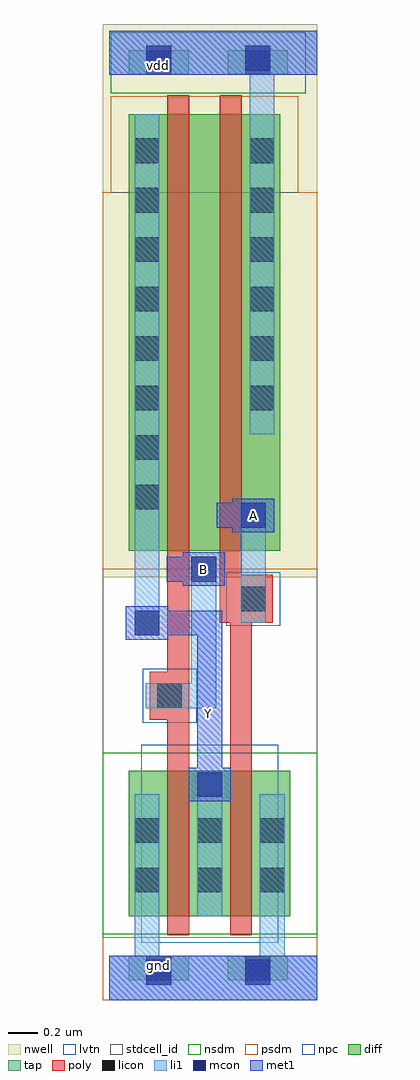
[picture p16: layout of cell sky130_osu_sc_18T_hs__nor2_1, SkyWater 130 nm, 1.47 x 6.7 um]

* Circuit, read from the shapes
.subckt sky130_osu_sc_18T_hs__nor2_1 A B Y gnd vdd
XM1 Y B gnd gnd sky130_fd_pr__nfet_01v8_lvt w=1 l=0.15
XM2 gnd A Y gnd sky130_fd_pr__nfet_01v8_lvt w=1 l=0.15
XM3 n1 B Y vdd sky130_fd_pr__pfet_01v8 w=3 l=0.15
XM4 vdd A n1 vdd sky130_fd_pr__pfet_01v8 w=3 l=0.15
.ends

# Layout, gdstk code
import gdstk
lib = gdstk.Library(unit=1e-6, precision=1e-09)
def R(c, l, rs):  # rectangles x0, y0, x1, y1
    for r in rs: c.add(gdstk.rectangle(r[:2], r[2:], *l))
nwell = (64, 20)
diff = (65, 20)
tap = (65, 44)
poly = (66, 20)
licon = (66, 44)
li1 = (67, 20)
mcon = (67, 44)
met1 = (68, 20)
stdcell_id = (81, 4)
nsdm = (93, 44)
psdm = (94, 20)
npc = (95, 20)
lvtn = (125, 44)

sky130_osu_sc_18t_hs__no = lib.new_cell('sky130_osu_sc_18T_hs__nor2_1')
R(sky130_osu_sc_18t_hs__no, nwell, [(-0.045,2.905,1.43,6.705), (-0.045,2.905,1.43,6.705)])
R(sky130_osu_sc_18t_hs__no, diff, [(0.135,0.575,1.245,1.575), (0.135,0.575,1.245,1.575), (0.135,3.085,1.175,6.085), (0.135,3.085,1.175,6.085)])
R(sky130_osu_sc_18t_hs__no, tap, [(0.135,0.135,0.545,0.305), (0.135,0.135,0.545,0.305), (0.815,0.135,1.225,0.305), (0.815,0.135,1.225,0.305), (0.135,6.355,0.545,6.525), (0.135,6.355,0.545,6.525), (0.815,6.355,1.225,6.525), (0.815,6.355,1.225,6.525)])
R(sky130_osu_sc_18t_hs__no, poly, [(0.4,0.445,0.55,1.925), (0.4,0.445,0.55,1.925), (0.83,0.445,0.98,2.59), (0.83,0.445,0.98,2.59), (0.28,1.925,0.55,2.255), (0.28,1.925,0.55,2.255), (0.4,2.255,0.55,6.215), (0.4,2.255,0.55,6.215), (0.76,2.59,1.125,2.92), (0.76,2.59,1.125,2.92), (0.76,2.92,0.91,6.215), (0.76,2.92,0.91,6.215)])
R(sky130_osu_sc_18t_hs__no, licon, [(0.255,0.135,0.425,0.305), (0.255,0.135,0.425,0.305), (0.935,0.135,1.105,0.305), (0.935,0.135,1.105,0.305), (0.175,0.74,0.345,0.91), (0.175,0.74,0.345,0.91), (0.605,0.74,0.775,0.91), (0.605,0.74,0.775,0.91), (1.035,0.74,1.205,0.91), (1.035,0.74,1.205,0.91), (0.175,1.08,0.345,1.25), (0.175,1.08,0.345,1.25), (0.605,1.08,0.775,1.25), (0.605,1.08,0.775,1.25), (1.035,1.08,1.205,1.25), (1.035,1.08,1.205,1.25), (0.33,2.005,0.5,2.175), (0.33,2.005,0.5,2.175), (0.905,2.67,1.075,2.84), (0.905,2.67,1.075,2.84), (0.175,3.37,0.345,3.54), (0.175,3.37,0.345,3.54), (0.175,3.71,0.345,3.88), (0.175,3.71,0.345,3.88), (0.175,4.05,0.345,4.22), (0.175,4.05,0.345,4.22), (0.965,4.05,1.135,4.22), (0.965,4.05,1.135,4.22), (0.175,4.39,0.345,4.56), (0.175,4.39,0.345,4.56), (0.965,4.39,1.135,4.56), (0.965,4.39,1.135,4.56), (0.175,4.73,0.345,4.9), (0.175,4.73,0.345,4.9), (0.965,4.73,1.135,4.9), (0.965,4.73,1.135,4.9), (0.175,5.07,0.345,5.24), (0.175,5.07,0.345,5.24), (0.965,5.07,1.135,5.24), (0.965,5.07,1.135,5.24), (0.175,5.41,0.345,5.58), (0.175,5.41,0.345,5.58), (0.965,5.41,1.135,5.58), (0.965,5.41,1.135,5.58), (0.175,5.75,0.345,5.92), (0.175,5.75,0.345,5.92), (0.965,5.75,1.135,5.92), (0.965,5.75,1.135,5.92), (0.255,6.355,0.425,6.525), (0.255,6.355,0.425,6.525), (0.935,6.355,1.105,6.525), (0.935,6.355,1.105,6.525)])
R(sky130_osu_sc_18t_hs__no, li1, [(0,0,1.43,0.305), (0,0,1.43,0.305), (0.175,0.305,0.345,1.415), (0.175,0.305,0.345,1.415), (1.035,0.305,1.205,1.415), (1.035,0.305,1.205,1.415), (0.605,0.575,0.775,1.565), (0.605,0.575,0.775,1.565), (0.25,2.005,0.735,2.175), (0.25,2.005,0.735,2.175), (0.565,2.175,0.735,3.045), (0.565,2.175,0.735,3.045), (0.175,2.505,0.345,6.085), (0.175,2.505,0.345,6.085), (0.905,2.59,1.075,3.415), (0.905,2.59,1.075,3.415), (0.965,3.885,1.135,6.355), (0.965,3.885,1.135,6.355), (0,6.355,1.43,6.66), (0,6.355,1.43,6.66)])
R(sky130_osu_sc_18t_hs__no, mcon, [(0.255,0.105,0.425,0.275), (0.255,0.105,0.425,0.275), (0.935,0.105,1.105,0.275), (0.935,0.105,1.105,0.275), (0.605,1.395,0.775,1.565), (0.605,1.395,0.775,1.565), (0.175,2.505,0.345,2.675), (0.175,2.505,0.345,2.675), (0.565,2.875,0.735,3.045), (0.565,2.875,0.735,3.045), (0.905,3.245,1.075,3.415), (0.905,3.245,1.075,3.415), (0.255,6.385,0.425,6.555), (0.255,6.385,0.425,6.555), (0.935,6.385,1.105,6.555), (0.935,6.385,1.105,6.555)])
R(sky130_osu_sc_18t_hs__no, met1, [(0,0,1.43,0.305), (0,0,1.43,0.305), (0.545,1.365,0.835,1.595), (0.545,1.365,0.835,1.595), (0.605,1.595,0.775,2.505), (0.605,1.595,0.775,2.505), (0.115,2.475,0.405,2.505), (0.115,2.475,0.405,2.505), (0.115,2.505,0.775,2.675), (0.115,2.505,0.775,2.675), (0.115,2.675,0.405,2.705), (0.115,2.675,0.405,2.705), (0.505,2.845,0.795,2.875), (0.505,2.845,0.795,2.875), (0.395,2.875,0.795,3.045), (0.395,2.875,0.795,3.045), (0.505,3.045,0.795,3.075), (0.505,3.045,0.795,3.075), (0.845,3.215,1.135,3.245), (0.845,3.215,1.135,3.245), (0.74,3.245,1.135,3.415), (0.74,3.245,1.135,3.415), (0.845,3.415,1.135,3.445), (0.845,3.415,1.135,3.445), (0,6.355,1.43,6.66), (0,6.355,1.43,6.66)])
R(sky130_osu_sc_18t_hs__no, stdcell_id, [(-0.045,0,1.43,5.55), (-0.045,0,1.43,5.55)])
R(sky130_osu_sc_18t_hs__no, nsdm, [(-0.045,0.45,1.43,1.7), (-0.045,0.45,1.43,1.7), (0.01,6.23,1.35,6.65), (0.01,6.23,1.35,6.65)])
R(sky130_osu_sc_18t_hs__no, psdm, [(-0.045,0,1.43,0.43), (-0.045,0,1.43,0.43), (-0.045,2.96,1.43,5.55), (-0.045,2.96,1.43,5.55), (0.01,5.55,1.3,6.21), (0.01,5.55,1.3,6.21)])
R(sky130_osu_sc_18t_hs__no, npc, [(0.23,1.905,0.6,2.275), (0.23,1.905,0.6,2.275), (0.805,2.57,1.175,2.94), (0.805,2.57,1.175,2.94)])
R(sky130_osu_sc_18t_hs__no, lvtn, [(0.22,0.395,1.16,1.755), (0.22,0.395,1.16,1.755)])
sky130_osu_sc_18t_hs__no.add(gdstk.Label('gnd', (0.34,0.24), layer=68, texttype=16))
sky130_osu_sc_18t_hs__no.add(gdstk.Label('vdd', (0.34,6.42), layer=68, texttype=16))
sky130_osu_sc_18t_hs__no.add(gdstk.Label('gnd', (0.34,0.24), layer=68, texttype=16))
sky130_osu_sc_18t_hs__no.add(gdstk.Label('vdd', (0.34,6.42), layer=68, texttype=16))
sky130_osu_sc_18t_hs__no.add(gdstk.Label('Y', (0.685,1.965), layer=68, texttype=5))
sky130_osu_sc_18t_hs__no.add(gdstk.Label('B', (0.65,2.96), layer=68, texttype=5))
sky130_osu_sc_18t_hs__no.add(gdstk.Label('A', (0.99,3.33), layer=68, texttype=5))
sky130_osu_sc_18t_hs__no.add(gdstk.Label('Y', (0.685,1.965), layer=68, texttype=5))
sky130_osu_sc_18t_hs__no.add(gdstk.Label('B', (0.65,2.96), layer=68, texttype=5))
sky130_osu_sc_18t_hs__no.add(gdstk.Label('A', (0.99,3.33), layer=68, texttype=5))

lib.write_gds('sky130_osu_sc_18T_hs__nor2_1.gds')
